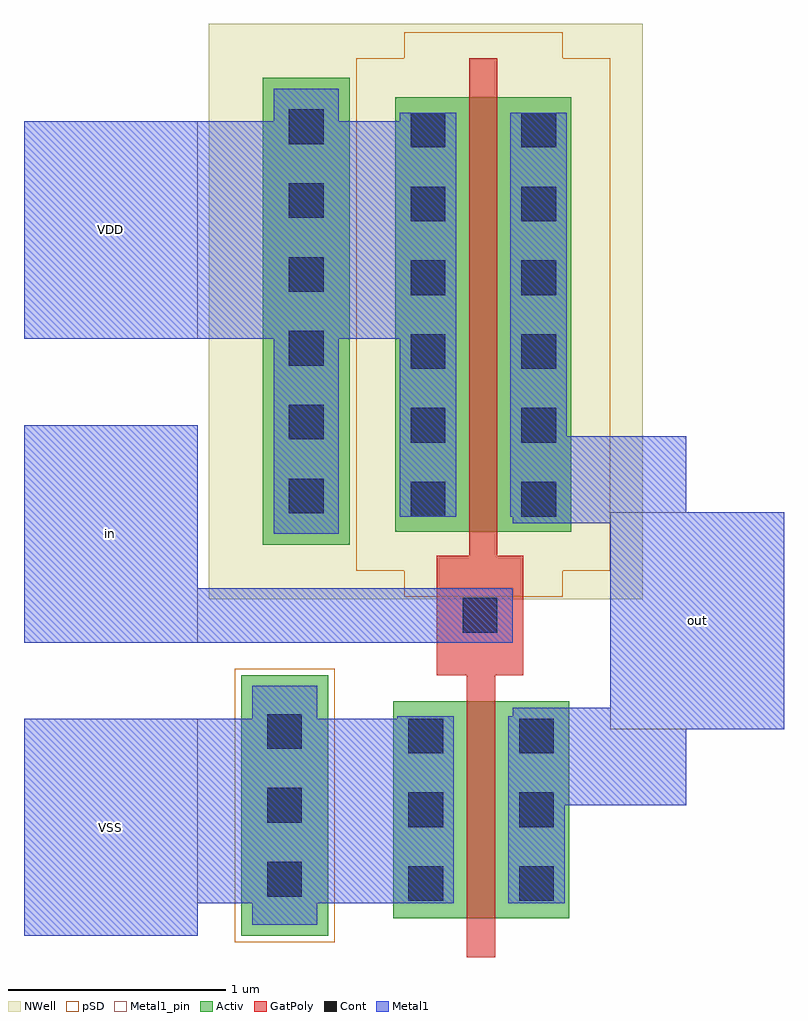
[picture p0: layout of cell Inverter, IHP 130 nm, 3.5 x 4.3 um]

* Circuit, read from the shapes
.subckt Inverter VDD VSS in out
XM1 out in VSS VSS sg13_lv_nmos w=1u l=0.13u
XM2 out in VDD VDD sg13_lv_pmos w=2u l=0.13u
.ends

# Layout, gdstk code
import gdstk
lib = gdstk.Library(unit=1e-6, precision=1e-09)
def R(c, l, rs):  # rectangles x0, y0, x1, y1
    for r in rs: c.add(gdstk.rectangle(r[:2], r[2:], *l))
def A(c, l, x, y, w, h, nx, ny, dx, dy):  # array of equal rectangles
    R(c, l, [(x+i*dx, y+j*dy, x+i*dx+w, y+j*dy+h) for i in range(nx) for j in range(ny)])
Activ = (1, 0)
GatPoly = (5, 0)
Cont = (6, 0)
Metal1 = (8, 0)
Metal1_pin = (8, 2)
pSD = (14, 0)
NWell = (31, 0)

sg13_lv_pmos_ld6kwr = lib.new_cell('sg13_lv_pmos_LD6KWR')
R(sg13_lv_pmos_ld6kwr, Activ, [(-0.405,-1,0.405,1)])
R(sg13_lv_pmos_ld6kwr, GatPoly, [(-0.065,-1.18,0.065,1.18)])
A(sg13_lv_pmos_ld6kwr, Cont, -0.335, -0.93, 0.16, 0.16, 1, 6, 0, 0.34)
A(sg13_lv_pmos_ld6kwr, Cont, 0.175, -0.93, 0.16, 0.16, 1, 6, 0, 0.34)
R(sg13_lv_pmos_ld6kwr, Metal1, [(-0.385,-0.93,-0.125,0.93), (0.125,-0.93,0.385,0.93)])
R(sg13_lv_pmos_ld6kwr, pSD, [(-0.365,-1.3,0.365,-1.18), (-0.585,-1.18,0.585,1.18), (-0.365,1.18,0.365,1.3)])
R(sg13_lv_pmos_ld6kwr, NWell, [(-0.715,-1.31,0.715,1.31)])
sg13_lv_pmos_ld6kwr.add(gdstk.Label('D', (-0.255,0), layer=8, texttype=25))
sg13_lv_pmos_ld6kwr.add(gdstk.Label('S', (0.255,0), layer=8, texttype=25))

sg13_lv_nmos_b9ahnm = lib.new_cell('sg13_lv_nmos_B9AHNM')
R(sg13_lv_nmos_b9ahnm, Activ, [(-0.405,-0.5,0.405,0.5)])
R(sg13_lv_nmos_b9ahnm, GatPoly, [(-0.065,-0.68,0.065,0.68)])
A(sg13_lv_nmos_b9ahnm, Cont, -0.335, -0.42, 0.16, 0.16, 1, 3, 0, 0.34)
A(sg13_lv_nmos_b9ahnm, Cont, 0.175, -0.42, 0.16, 0.16, 1, 3, 0, 0.34)
R(sg13_lv_nmos_b9ahnm, Metal1, [(-0.385,-0.43,-0.125,0.43), (0.125,-0.43,0.385,0.43)])
sg13_lv_nmos_b9ahnm.add(gdstk.Label('D', (-0.255,0), layer=8, texttype=25))
sg13_lv_nmos_b9ahnm.add(gdstk.Label('S', (0.255,0), layer=8, texttype=25))

inverter = lib.new_cell('Inverter')
R(inverter, Activ, [(1.9,-6.85,2.3,-5.65), (2,-5.05,2.4,-2.9)])
R(inverter, GatPoly, [(2.8,-5.65,3.2,-5.1)])
A(inverter, Cont, 2.02, -6.67, 0.16, 0.16, 1, 3, 0, 0.34)
A(inverter, Cont, 2.12, -4.905, 0.16, 0.16, 1, 6, 0, 0.34)
R(inverter, Cont, [(2.92,-5.455,3.08,-5.295)])
R(inverter, Metal1, [(0.9,-6.85,1.7,-6.7), (1.95,-6.8,2.25,-6.7), (0.9,-6.7,2.65,-5.85), (3.35,-6.25,3.95,-6.2), (3.15,-6.2,3.95,-5.9), (3.15,-5.9,4.4,-5.8), (1.95,-5.85,2.25,-5.7), (3.6,-5.8,4.4,-4.95), (0.9,-5.5,3.15,-5.25), (0.9,-5.25,1.7,-4.5), (2.05,-5,2.35,-4.1), (3.15,-4.95,4.4,-4.9), (3.15,-4.9,3.95,-4.55), (0.9,-4.1,2.7,-3.1), (2.05,-3.1,2.35,-2.95)])
R(inverter, Metal1_pin, [(0.9,-6.85,1.7,-5.85), (3.6,-5.9,4.4,-4.9), (0.9,-5.5,1.7,-4.5), (0.9,-4.1,1.7,-3.1)])
R(inverter, pSD, [(1.87,-6.88,2.33,-5.62)])
R(inverter, NWell, [(1.75,-5.3,3.75,-2.65)])
inverter.add(gdstk.Reference(sg13_lv_pmos_ld6kwr, (3.015,-3.99)))
inverter.add(gdstk.Reference(sg13_lv_nmos_b9ahnm, (3.005,-6.27)))
inverter.add(gdstk.Label('VDD', (1.3,-3.6), layer=8, texttype=25))
inverter.add(gdstk.Label('in', (1.3,-5), layer=8, texttype=25))
inverter.add(gdstk.Label('out', (4,-5.4), layer=8, texttype=25))
inverter.add(gdstk.Label('VSS', (1.3,-6.35), layer=8, texttype=25))

lib.write_gds('Inverter.gds')
